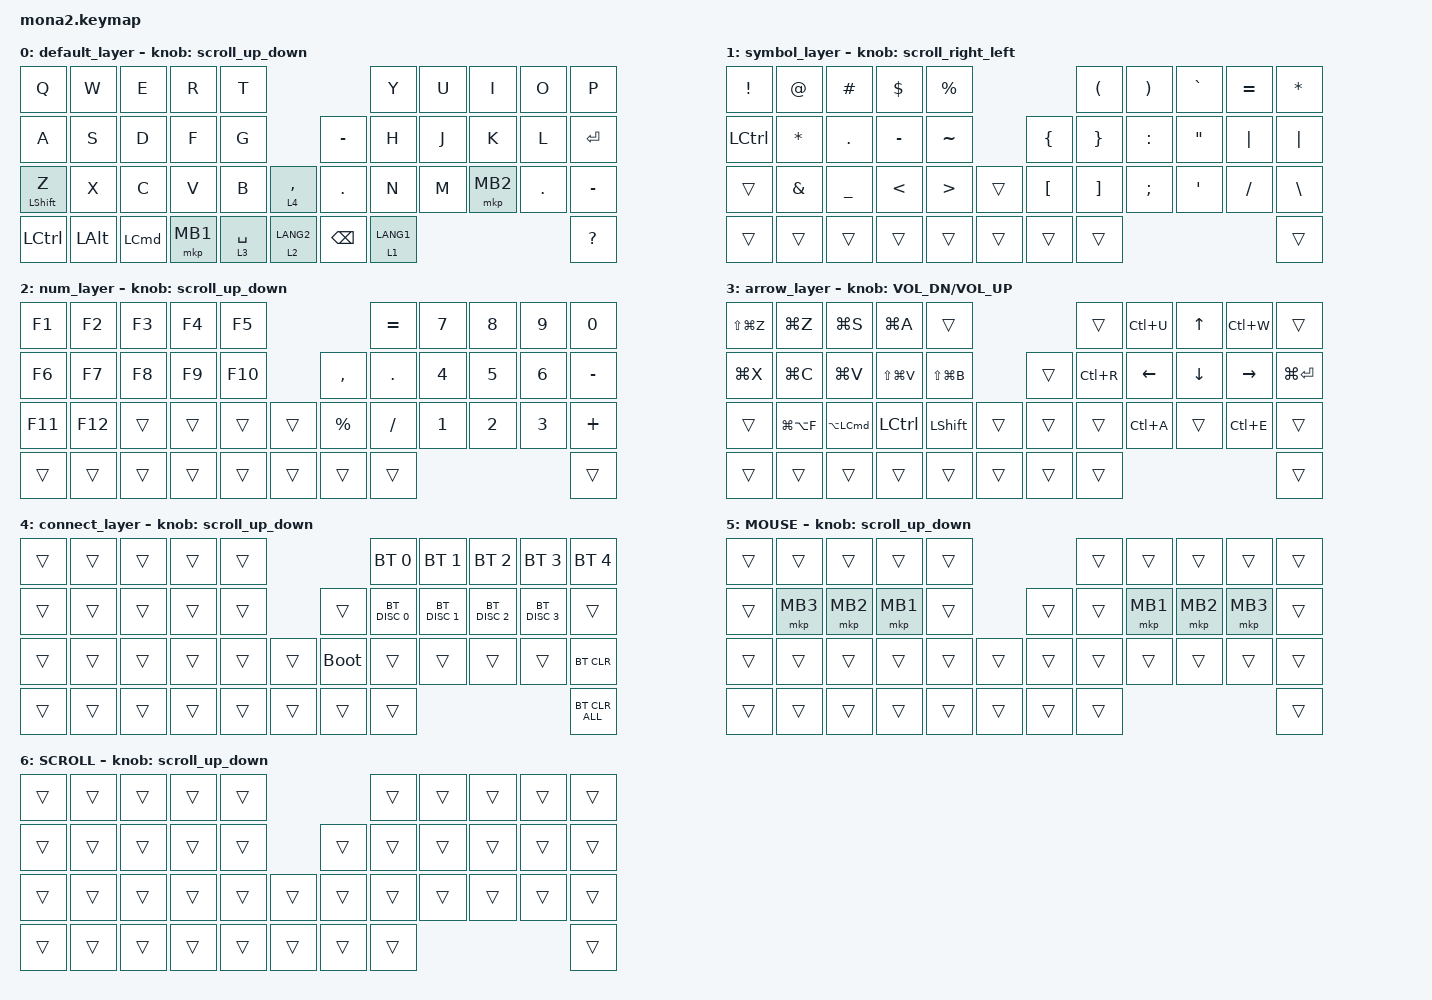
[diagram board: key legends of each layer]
#include <input/processors.dtsi>
#include <dt-bindings/zmk/input_transform.h>
#include <zephyr/dt-bindings/input/input-event-codes.h>
#include <behaviors.dtsi>
#include <dt-bindings/zmk/bt.h>
#include <dt-bindings/zmk/keys.h>
#include <dt-bindings/zmk/pointing.h>

#define ZMK_POINTING_DEFAULT_SCRL_VAL 100
#define MOUSE 5
#define SCROLL 6

&mt {
    flavor = "balanced";
    quick-tap-ms = <0>;
};

&lt {
    quick-tap-ms = <300>;
    flavor = "balanced";
};

/ {
    combos {
        compatible = "zmk,combos";

        esc {
            bindings = <&kp ESCAPE>;
            key-positions = <0 1>;
        };

        tab {
            bindings = <&kp TAB>;
            key-positions = <23 24>;
        };

        tabright {
            bindings = <&kp LC(TAB)>;
            key-positions = <12 13>;
        };

        tableft {
            bindings = <&kp LS(LC(TAB))>;
            key-positions = <11 12>;
        };

        exclamationmark {
            bindings = <&kp EXCLAMATION>;
            key-positions = <4 3>;
        };

        screenshot {
            bindings = <&kp LS(LG(NUMBER_4))>;
            key-positions = <22 23>;
        };

        question {
            bindings = <&kp QUESTION>;
            key-positions = <7 8>;
        };

        tab2 {
            bindings = <&kp TAB>;
            key-positions = <17 18>;
        };
    };

    macros {
        to_layer_0: to_layer_0 {
            compatible = "zmk,behavior-macro-one-param";
            #binding-cells = <1>;
            bindings = <&to 0 &macro_param_1to1 &kp MACRO_PLACEHOLDER>;
            label = "TO_LAYER_0";
        };
    };

    behaviors {
        lt_to_layer_0: lt_to_layer_0 {
            compatible = "zmk,behavior-hold-tap";
            label = "LAYER_TAP_TO_0";
            bindings = <&mo>, <&to_layer_0>;

            #binding-cells = <2>;
            tapping-term-ms = <200>;
        };

        scroll_up_down: mouse_wheel_up_down {
            compatible = "zmk,behavior-sensor-rotate";
            #sensor-binding-cells = <0>;
            bindings = <&msc SCRL_DOWN>, <&msc SCRL_UP>;

            tap-ms = <20>;
        };

        scroll_right_left: mouse_wheel_right_left {
            compatible = "zmk,behavior-sensor-rotate";
            #sensor-binding-cells = <0>;
            bindings = <&msc SCRL_LEFT>, <&msc SCRL_RIGHT>;

            tap-ms = <20>;
        };
    };

    keymap {
        compatible = "zmk,keymap";

        default_layer {
            bindings = <
&kp Q             &kp W         &kp E             &kp R     &kp T                                                 &kp Y        &kp U  &kp I     &kp O    &kp P
&kp A             &kp S         &kp D             &kp F     &kp G                                  &kp MINUS      &kp H        &kp J  &kp K     &kp L    &kp ENTER
&mt LEFT_SHIFT Z  &kp X         &kp C             &kp V     &kp B        &lt 4 COMMA               &kp PERIOD     &kp N        &kp M  &mkp MB2  &kp DOT  &kp MINUS
&kp LCTRL         &kp LEFT_ALT  &kp LEFT_COMMAND  &mkp MB1  &lt 3 SPACE  &lt_to_layer_0 2 LANG2    &kp BACKSPACE  &lt 1 LANG1                            &kp QUESTION
            >;

            sensor-bindings = <&scroll_up_down>;
        };

        symbol_layer {
            bindings = <
&kp EXCLAMATION   &kp AT_SIGN    &kp HASH        &kp DOLLAR     &kp PERCENT                                   &kp LEFT_PARENTHESIS  &kp RIGHT_PARENTHESIS  &kp GRAVE          &kp EQUAL  &kp ASTRK
&kp LEFT_CONTROL  &kp ASTRK      &kp DOT         &kp MINUS      &kp TILDE                   &kp LEFT_BRACE    &kp RIGHT_BRACE       &kp COLON              &kp DOUBLE_QUOTES  &kp PIPE   &kp PIPE
&trans            &kp AMPERSAND  &kp UNDERSCORE  &kp LESS_THAN  &kp GREATER_THAN  &trans    &kp LEFT_BRACKET  &kp RIGHT_BRACKET     &kp SEMICOLON          &kp SINGLE_QUOTE   &kp SLASH  &kp BACKSLASH
&trans            &trans         &trans          &trans         &trans            &trans    &trans            &trans                                                                     &trans
            >;

            sensor-bindings = <&scroll_right_left>;
        };

        num_layer {
            bindings = <
&kp F1   &kp F2   &kp F3  &kp F4  &kp F5                          &kp EQUAL   &kp NUMBER_7  &kp NUMBER_8  &kp NUMBER_9  &kp NUMBER_0
&kp F6   &kp F7   &kp F8  &kp F9  &kp F10            &kp COMMA    &kp PERIOD  &kp NUMBER_4  &kp NUMBER_5  &kp NUMBER_6  &kp MINUS
&kp F11  &kp F12  &trans  &trans  &trans   &trans    &kp PERCENT  &kp SLASH   &kp NUMBER_1  &kp NUMBER_2  &kp NUMBER_3  &kp PLUS
&trans   &trans   &trans  &trans  &trans   &trans    &trans       &trans                                                &trans
            >;

            sensor-bindings = <&scroll_up_down>;
        };

        arrow_layer {
            bindings = <
&kp LS(LG(Z))  &kp LG(Z)      &kp LG(S)             &kp LG(A)         &trans                            &trans     &kp LC(U)       &kp UP_ARROW    &kp LC(W)        &trans
&kp LG(X)      &kp LG(C)      &kp LG(V)             &kp LS(LG(V))     &kp LS(LG(B))             &trans  &kp LC(R)  &kp LEFT_ARROW  &kp DOWN_ARROW  &kp RIGHT_ARROW  &kp LG(ENTER)
&trans         &kp LG(LA(F))  &kp LA(LEFT_COMMAND)  &kp LEFT_CONTROL  &kp LEFT_SHIFT  &trans    &trans  &trans     &kp LC(A)       &trans          &kp LC(E)        &trans
&trans         &trans         &trans                &trans            &trans          &trans    &trans  &trans                                                      &trans
            >;

            sensor-bindings = <&inc_dec_kp C_VOL_DN C_VOL_UP>;
        };

        connect_layer {
            bindings = <
&trans  &trans  &trans  &trans  &trans                         &bt BT_SEL 0   &bt BT_SEL 1   &bt BT_SEL 2   &bt BT_SEL 3   &bt BT_SEL 4
&trans  &trans  &trans  &trans  &trans            &trans       &bt BT_DISC 0  &bt BT_DISC 1  &bt BT_DISC 2  &bt BT_DISC 3  &trans
&trans  &trans  &trans  &trans  &trans  &trans    &bootloader  &trans         &trans         &trans         &trans         &bt BT_CLR
&trans  &trans  &trans  &trans  &trans  &trans    &trans       &trans                                                      &bt BT_CLR_ALL
            >;

            sensor-bindings = <&scroll_up_down>;
        };

        MOUSE {
            bindings = <
&trans  &trans    &trans    &trans    &trans                    &trans  &trans    &trans    &trans    &trans
&trans  &mkp MB3  &mkp MB2  &mkp MB1  &trans            &trans  &trans  &mkp MB1  &mkp MB2  &mkp MB3  &trans
&trans  &trans    &trans    &trans    &trans  &trans    &trans  &trans  &trans    &trans    &trans    &trans
&trans  &trans    &trans    &trans    &trans  &trans    &trans  &trans                                &trans
            >;

            sensor-bindings = <&scroll_up_down>;
        };

        SCROLL {
            bindings = <
&trans  &trans  &trans  &trans  &trans                    &trans  &trans  &trans  &trans  &trans
&trans  &trans  &trans  &trans  &trans            &trans  &trans  &trans  &trans  &trans  &trans
&trans  &trans  &trans  &trans  &trans  &trans    &trans  &trans  &trans  &trans  &trans  &trans
&trans  &trans  &trans  &trans  &trans  &trans    &trans  &trans                          &trans
            >;

            sensor-bindings = <&scroll_up_down>;
        };
    };
};
